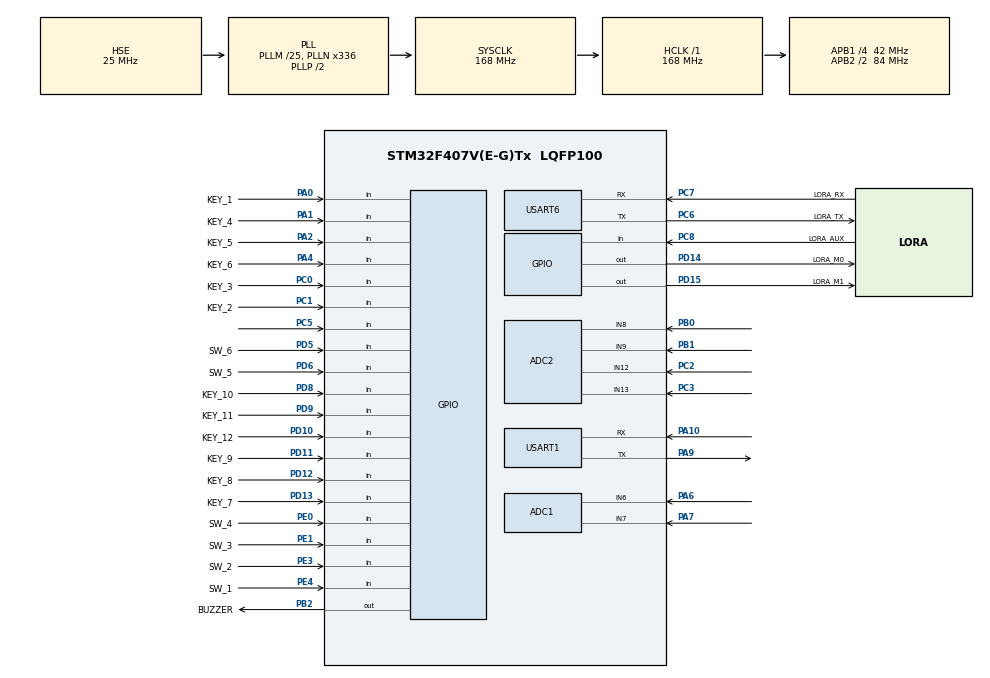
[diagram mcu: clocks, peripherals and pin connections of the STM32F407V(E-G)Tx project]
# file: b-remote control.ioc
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ADC1.Channel-0\#ChannelRegularConversion=ADC_CHANNEL_6
ADC1.Channel-1\#ChannelRegularConversion=ADC_CHANNEL_7
ADC1.ContinuousConvMode=ENABLE
ADC1.DMAContinuousRequests=ENABLE
ADC1.EOCSelection=ADC_EOC_SEQ_CONV
ADC1.NbrOfConversionFlag=2
ADC1.Rank-0\#ChannelRegularConversion=1
ADC1.Rank-1\#ChannelRegularConversion=2
ADC1.SamplingTime-0\#ChannelRegularConversion=ADC_SAMPLETIME_84CYCLES
ADC1.SamplingTime-1\#ChannelRegularConversion=ADC_SAMPLETIME_84CYCLES
ADC1.ScanConvMode=ENABLE
ADC1.master=1
ADC2.Channel-0\#ChannelRegularConversion=ADC_CHANNEL_12
ADC2.Channel-1\#ChannelRegularConversion=ADC_CHANNEL_13
ADC2.Channel-2\#ChannelRegularConversion=ADC_CHANNEL_8
ADC2.Channel-3\#ChannelRegularConversion=ADC_CHANNEL_9
ADC2.ContinuousConvMode=ENABLE
ADC2.DMAContinuousRequests=ENABLE
ADC2.EOCSelection=ADC_EOC_SEQ_CONV
ADC2.NbrOfConversionFlag=4
ADC2.Rank-0\#ChannelRegularConversion=1
ADC2.Rank-1\#ChannelRegularConversion=2
ADC2.Rank-2\#ChannelRegularConversion=3
ADC2.Rank-3\#ChannelRegularConversion=4
ADC2.SamplingTime-0\#ChannelRegularConversion=ADC_SAMPLETIME_84CYCLES
ADC2.SamplingTime-1\#ChannelRegularConversion=ADC_SAMPLETIME_84CYCLES
ADC2.SamplingTime-2\#ChannelRegularConversion=ADC_SAMPLETIME_84CYCLES
ADC2.SamplingTime-3\#ChannelRegularConversion=ADC_SAMPLETIME_84CYCLES
ADC2.ScanConvMode=ENABLE
Dma.ADC1.2.Direction=DMA_PERIPH_TO_MEMORY
Dma.ADC1.2.FIFOMode=DMA_FIFOMODE_DISABLE
Dma.ADC1.2.Instance=DMA2_Stream4
Dma.ADC1.2.MemDataAlignment=DMA_MDATAALIGN_HALFWORD
Dma.ADC1.2.MemInc=DMA_MINC_ENABLE
Dma.ADC1.2.Mode=DMA_CIRCULAR
Dma.ADC1.2.PeriphDataAlignment=DMA_PDATAALIGN_HALFWORD
Dma.ADC1.2.PeriphInc=DMA_PINC_DISABLE
Dma.ADC1.2.Priority=DMA_PRIORITY_HIGH
Dma.ADC2.3.Direction=DMA_PERIPH_TO_MEMORY
Dma.ADC2.3.FIFOMode=DMA_FIFOMODE_DISABLE
Dma.ADC2.3.Instance=DMA2_Stream3
Dma.ADC2.3.MemDataAlignment=DMA_MDATAALIGN_HALFWORD
Dma.ADC2.3.MemInc=DMA_MINC_ENABLE
Dma.ADC2.3.Mode=DMA_CIRCULAR
Dma.ADC2.3.PeriphDataAlignment=DMA_PDATAALIGN_HALFWORD
Dma.ADC2.3.PeriphInc=DMA_PINC_DISABLE
Dma.ADC2.3.Priority=DMA_PRIORITY_HIGH
Dma.Request0=USART1_TX
Dma.Request1=USART1_RX
Dma.Request2=ADC1
Dma.Request3=ADC2
Dma.Request4=USART6_TX
Dma.USART1_RX.1.Direction=DMA_PERIPH_TO_MEMORY
Dma.USART1_RX.1.FIFOMode=DMA_FIFOMODE_DISABLE
Dma.USART1_RX.1.Instance=DMA2_Stream2
Dma.USART1_RX.1.MemDataAlignment=DMA_MDATAALIGN_BYTE
Dma.USART1_RX.1.MemInc=DMA_MINC_ENABLE
Dma.USART1_RX.1.Mode=DMA_NORMAL
Dma.USART1_RX.1.PeriphDataAlignment=DMA_PDATAALIGN_BYTE
Dma.USART1_RX.1.PeriphInc=DMA_PINC_DISABLE
Dma.USART1_RX.1.Priority=DMA_PRIORITY_LOW
Dma.USART1_TX.0.Direction=DMA_MEMORY_TO_PERIPH
Dma.USART1_TX.0.FIFOMode=DMA_FIFOMODE_DISABLE
Dma.USART1_TX.0.Instance=DMA2_Stream7
Dma.USART1_TX.0.MemDataAlignment=DMA_MDATAALIGN_BYTE
Dma.USART1_TX.0.MemInc=DMA_MINC_ENABLE
Dma.USART1_TX.0.Mode=DMA_NORMAL
Dma.USART1_TX.0.PeriphDataAlignment=DMA_PDATAALIGN_BYTE
Dma.USART1_TX.0.PeriphInc=DMA_PINC_DISABLE
Dma.USART1_TX.0.Priority=DMA_PRIORITY_LOW
Dma.USART6_TX.4.Direction=DMA_MEMORY_TO_PERIPH
Dma.USART6_TX.4.FIFOMode=DMA_FIFOMODE_DISABLE
Dma.USART6_TX.4.Instance=DMA2_Stream6
Dma.USART6_TX.4.MemDataAlignment=DMA_MDATAALIGN_BYTE
Dma.USART6_TX.4.MemInc=DMA_MINC_ENABLE
Dma.USART6_TX.4.Mode=DMA_NORMAL
Dma.USART6_TX.4.PeriphDataAlignment=DMA_PDATAALIGN_BYTE
Dma.USART6_TX.4.PeriphInc=DMA_PINC_DISABLE
Dma.USART6_TX.4.Priority=DMA_PRIORITY_HIGH
FREERTOS.Tasks01=remoteTask,32,256,StartRemoteTask,Default,NULL,Dynamic,NULL,NULL
FREERTOS.Tasks02=debugTask,16,256,StartDebugTask,Default,NULL,Dynamic,NULL,NULL
Mcu.Family=STM32F4
Mcu.Name=STM32F407V(E-G)Tx
Mcu.Package=LQFP100
NVIC.DMA2_Stream2_IRQn=true\:5\:0\:false\:false\:true\:true\:false\:true\:true
NVIC.DMA2_Stream3_IRQn=true\:5\:0\:false\:false\:true\:true\:false\:true\:true
NVIC.DMA2_Stream4_IRQn=true\:5\:0\:false\:false\:true\:true\:false\:true\:true
NVIC.DMA2_Stream6_IRQn=true\:5\:0\:false\:false\:true\:true\:false\:true\:true
NVIC.DMA2_Stream7_IRQn=true\:5\:0\:false\:false\:true\:true\:false\:true\:true
NVIC.PriorityGroup=NVIC_PRIORITYGROUP_4
NVIC.TIM2_IRQn=true\:5\:0\:false\:false\:true\:true\:true\:true\:true
NVIC.USART1_IRQn=true\:5\:0\:false\:false\:true\:true\:false\:true\:true
NVIC.USART6_IRQn=true\:5\:0\:false\:false\:true\:true\:false\:true\:true
PA0-WKUP.GPIO_Label=KEY_1
PA0-WKUP.GPIO_PuPd=GPIO_NOPULL
PA0-WKUP.Signal=GPIO_Input
PA1.GPIO_Label=KEY_4
PA1.GPIO_PuPd=GPIO_NOPULL
PA1.Signal=GPIO_Input
PA10.Mode=Asynchronous
PA10.Signal=USART1_RX
PA13.Mode=Serial_Wire
PA13.Signal=SYS_JTMS-SWDIO
PA14.Mode=Serial_Wire
PA14.Signal=SYS_JTCK-SWCLK
PA2.GPIO_Label=KEY_5
PA2.GPIO_PuPd=GPIO_NOPULL
PA2.Signal=GPIO_Input
PA4.GPIO_Label=KEY_6
PA4.GPIO_PuPd=GPIO_NOPULL
PA4.Signal=GPIO_Input
PA6.Signal=ADCx_IN6
PA7.Signal=ADCx_IN7
PA9.Mode=Asynchronous
PA9.Signal=USART1_TX
PB0.Signal=ADCx_IN8
PB1.Signal=ADCx_IN9
PB2.GPIO_Label=BUZZER
PB2.GPIO_ModeDefaultOutputPP=GPIO_MODE_OUTPUT_PP
PB2.GPIO_PuPd=GPIO_NOPULL
PB2.Signal=GPIO_Output
PC0.GPIO_Label=KEY_3
PC0.GPIO_PuPd=GPIO_NOPULL
PC0.Signal=GPIO_Input
PC1.GPIO_Label=KEY_2
PC1.GPIO_PuPd=GPIO_NOPULL
PC1.Signal=GPIO_Input
PC2.Signal=ADCx_IN12
PC3.Signal=ADCx_IN13
PC5.Signal=GPIO_Input
PC6.GPIO_Label=LORA_TX
PC6.Mode=Asynchronous
PC6.Signal=USART6_TX
PC7.GPIO_Label=LORA_RX
PC7.Mode=Asynchronous
PC7.Signal=USART6_RX
PC8.GPIO_Label=LORA_AUX
PC8.GPIO_PuPd=GPIO_NOPULL
PC8.Signal=GPIO_Input
PD10.GPIO_Label=KEY_12
PD10.GPIO_PuPd=GPIO_NOPULL
PD10.Signal=GPIO_Input
PD11.GPIO_Label=KEY_9
PD11.GPIO_PuPd=GPIO_NOPULL
PD11.Signal=GPIO_Input
PD12.GPIO_Label=KEY_8
PD12.GPIO_PuPd=GPIO_NOPULL
PD12.Signal=GPIO_Input
PD13.GPIO_Label=KEY_7
PD13.GPIO_PuPd=GPIO_NOPULL
PD13.Signal=GPIO_Input
PD14.GPIO_Label=LORA_M0
PD14.PinState=GPIO_PIN_RESET
PD14.Signal=GPIO_Output
PD15.GPIO_Label=LORA_M1
PD15.PinState=GPIO_PIN_RESET
PD15.Signal=GPIO_Output
PD5.GPIO_Label=SW_6
PD5.GPIO_PuPd=GPIO_NOPULL
PD5.Signal=GPIO_Input
PD6.GPIO_Label=SW_5
PD6.GPIO_PuPd=GPIO_NOPULL
PD6.Signal=GPIO_Input
PD8.GPIO_Label=KEY_10
PD8.GPIO_PuPd=GPIO_NOPULL
PD8.Signal=GPIO_Input
PD9.GPIO_Label=KEY_11
PD9.GPIO_PuPd=GPIO_NOPULL
PD9.Signal=GPIO_Input
PE0.GPIO_Label=SW_4
PE0.GPIO_PuPd=GPIO_NOPULL
PE0.Signal=GPIO_Input
PE1.GPIO_Label=SW_3
PE1.GPIO_PuPd=GPIO_NOPULL
PE1.Signal=GPIO_Input
PE3.GPIO_Label=SW_2
PE3.GPIO_PuPd=GPIO_NOPULL
PE3.Signal=GPIO_Input
PE4.GPIO_Label=SW_1
PE4.GPIO_PuPd=GPIO_NOPULL
PE4.Signal=GPIO_Input
PH0-OSC_IN.Mode=HSE-External-Oscillator
PH0-OSC_IN.Signal=RCC_OSC_IN
PH1-OSC_OUT.Mode=HSE-External-Oscillator
PH1-OSC_OUT.Signal=RCC_OSC_OUT
ProjectManager.HeapSize=0x200
ProjectManager.StackSize=0x400
ProjectManager.TargetToolchain=MDK-ARM V5.32
RCC.48MHZClocksFreq_Value=84000000
RCC.AHBFreq_Value=168000000
RCC.APB1CLKDivider=RCC_HCLK_DIV4
RCC.APB1Freq_Value=42000000
RCC.APB1TimFreq_Value=84000000
RCC.APB2CLKDivider=RCC_HCLK_DIV2
RCC.APB2Freq_Value=84000000
RCC.APB2TimFreq_Value=168000000
RCC.CortexFreq_Value=168000000
RCC.HCLKFreq_Value=168000000
RCC.HSE_VALUE=25000000
RCC.HSI_VALUE=16000000
RCC.LSE_VALUE=32768
RCC.PLLM=25
RCC.PLLN=336
RCC.PLLSourceVirtual=RCC_PLLSOURCE_HSE
RCC.SYSCLKFreq_VALUE=168000000
RCC.SYSCLKSource=RCC_SYSCLKSOURCE_PLLCLK
RCC.VCOOutputFreq_Value=336000000
SH.ADCx_IN12.0=ADC2_IN12,IN12
SH.ADCx_IN13.0=ADC2_IN13,IN13
SH.ADCx_IN6.0=ADC1_IN6,IN6
SH.ADCx_IN7.0=ADC1_IN7,IN7
SH.ADCx_IN8.0=ADC2_IN8,IN8
SH.ADCx_IN9.0=ADC2_IN9,IN9
TIM2.Period=9
TIM2.Prescaler=8399
USART1.VirtualMode=VM_ASYNC
USART6.VirtualMode=VM_ASYNC
VP_FREERTOS_VS_CMSIS_V2.Mode=CMSIS_V2
VP_TIM2_VS_ClockSource.Mode=Internal
board=custom

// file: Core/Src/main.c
/* USER CODE BEGIN Header */
/**
  ******************************************************************************
  * @file           : main.c
  * @brief          : Main program body
  ******************************************************************************
  * @attention
  *
  * Copyright (c) 2026 STMicroelectronics.
  * All rights reserved.
  *
  * This software is licensed under terms that can be found in the LICENSE file
  * in the root directory of this software component.
  * If no LICENSE file comes with this software, it is provided AS-IS.
  *
  ******************************************************************************
  */
/* USER CODE END Header */
#include "main.h"
#include "cmsis_os.h"
#include "adc.h"
#include "dma.h"
#include "tim.h"
#include "usart.h"
#include "gpio.h"

/* USER CODE BEGIN Includes */
#include "mymain.h"

/* USER CODE END Includes */

void SystemClock_Config(void);
void MX_FREERTOS_Init(void);

int main(void)
{

  /* MCU Configuration--------------------------------------------------------*/

  /* Reset of all peripherals, Initializes the Flash interface and the Systick. */
  HAL_Init();

  /* Configure the system clock */
  SystemClock_Config();

  /* Initialize all configured peripherals */
  MX_GPIO_Init();
  MX_DMA_Init();
  MX_ADC1_Init();
  MX_ADC2_Init();
  MX_TIM2_Init();
  MX_USART1_UART_Init();
  MX_USART6_UART_Init();
  /* USER CODE BEGIN 2 */
  MyMain_Init();

  /* USER CODE END 2 */

  /* Init scheduler */
  osKernelInitialize();  /* Call init function for freertos objects (in cmsis_os2.c) */
  MX_FREERTOS_Init();

  /* Start scheduler */
  osKernelStart();

  /* We should never get here as control is now taken by the scheduler */

  /* Infinite loop */
  while (1)
  {

  }
}

void SystemClock_Config(void)
{
  RCC_OscInitTypeDef RCC_OscInitStruct = {0};
  RCC_ClkInitTypeDef RCC_ClkInitStruct = {0};

  /** Configure the main internal regulator output voltage
  */
  __HAL_RCC_PWR_CLK_ENABLE();
  __HAL_PWR_VOLTAGESCALING_CONFIG(PWR_REGULATOR_VOLTAGE_SCALE1);

  /** Initializes the RCC Oscillators according to the specified parameters
  * in the RCC_OscInitTypeDef structure.
  */
  RCC_OscInitStruct.OscillatorType = RCC_OSCILLATORTYPE_HSE;
  RCC_OscInitStruct.HSEState = RCC_HSE_ON;
  RCC_OscInitStruct.PLL.PLLState = RCC_PLL_ON;
  RCC_OscInitStruct.PLL.PLLSource = RCC_PLLSOURCE_HSE;
  RCC_OscInitStruct.PLL.PLLM = 25;
  RCC_OscInitStruct.PLL.PLLN = 336;
  RCC_OscInitStruct.PLL.PLLP = RCC_PLLP_DIV2;
  RCC_OscInitStruct.PLL.PLLQ = 4;
  if (HAL_RCC_OscConfig(&RCC_OscInitStruct) != HAL_OK)
  {
    Error_Handler();
  }

  /** Initializes the CPU, AHB and APB buses clocks
  */
  RCC_ClkInitStruct.ClockType = RCC_CLOCKTYPE_HCLK|RCC_CLOCKTYPE_SYSCLK
                              |RCC_CLOCKTYPE_PCLK1|RCC_CLOCKTYPE_PCLK2;
  RCC_ClkInitStruct.SYSCLKSource = RCC_SYSCLKSOURCE_PLLCLK;
  RCC_ClkInitStruct.AHBCLKDivider = RCC_SYSCLK_DIV1;
  RCC_ClkInitStruct.APB1CLKDivider = RCC_HCLK_DIV4;
  RCC_ClkInitStruct.APB2CLKDivider = RCC_HCLK_DIV2;

  if (HAL_RCC_ClockConfig(&RCC_ClkInitStruct, FLASH_LATENCY_5) != HAL_OK)
  {
    Error_Handler();
  }
}

void Error_Handler(void)
{
  __disable_irq();
  while (1)
  {
  }
}

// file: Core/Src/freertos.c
/* USER CODE BEGIN Header */
/**
  ******************************************************************************
  * File Name          : freertos.c
  * Description        : Code for freertos applications
  ******************************************************************************
  * @attention
  *
  * Copyright (c) 2026 STMicroelectronics.
  * All rights reserved.
  *
  * This software is licensed under terms that can be found in the LICENSE file
  * in the root directory of this software component.
  * If no LICENSE file comes with this software, it is provided AS-IS.
  *
  ******************************************************************************
  */
/* USER CODE END Header */

#include "FreeRTOS.h"
#include "task.h"
#include "main.h"
#include "cmsis_os.h"

/* USER CODE BEGIN Includes */
#include "mymain.h"
#include "RemoteInput.h"

/* USER CODE END Includes */

/* Definitions for remoteTask */
osThreadId_t remoteTaskHandle;
const osThreadAttr_t remoteTask_attributes = {
  .name = "remoteTask",
  .stack_size = 256 * 4,
  .priority = (osPriority_t) osPriorityAboveNormal,
};
/* Definitions for debugTask */
osThreadId_t debugTaskHandle;
const osThreadAttr_t debugTask_attributes = {
  .name = "debugTask",
  .stack_size = 256 * 4,
  .priority = (osPriority_t) osPriorityBelowNormal,
};

void StartRemoteTask(void *argument);
void StartDebugTask(void *argument);

void MX_FREERTOS_Init(void); /* (MISRA C 2004 rule 8.1) */

void MX_FREERTOS_Init(void) {

  /* Create the thread(s) */
  /* creation of remoteTask */
  remoteTaskHandle = osThreadNew(StartRemoteTask, NULL, &remoteTask_attributes);

  /* creation of debugTask */
  debugTaskHandle = osThreadNew(StartDebugTask, NULL, &debugTask_attributes);

}

void StartRemoteTask(void *argument)
{
  /* USER CODE BEGIN StartRemoteTask */
  uint32_t nextWakeTick;

  (void)argument;
  nextWakeTick = osKernelGetTickCount();

  /* Infinite loop */
  for(;;)
  {
    Remote_Update();
    Remote_Send();
    nextWakeTick += 1U;
    (void)osDelayUntil(nextWakeTick);
  }
  /* USER CODE END StartRemoteTask */
}

void StartDebugTask(void *argument)
{
  /* USER CODE BEGIN StartDebugTask */
  uint32_t nextWakeTick;

  (void)argument;
  nextWakeTick = osKernelGetTickCount();

  /* Infinite loop */
  for(;;)
  {
    MyMain_Debug();
    nextWakeTick += 50U;
    (void)osDelayUntil(nextWakeTick);
  }
  /* USER CODE END StartDebugTask */
}
